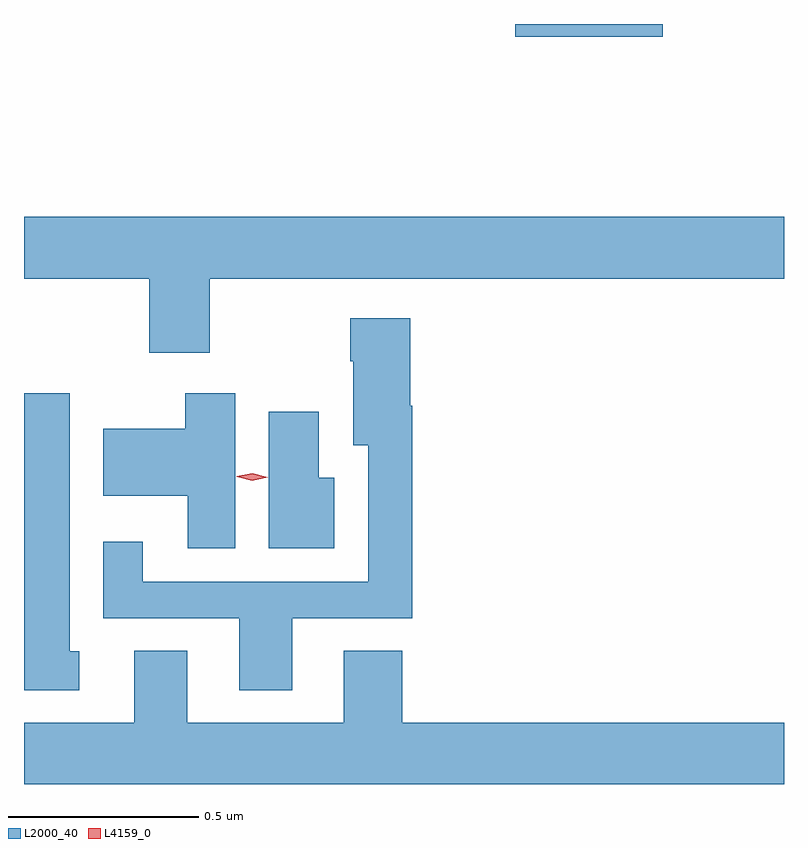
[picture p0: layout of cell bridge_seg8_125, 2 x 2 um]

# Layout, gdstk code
import gdstk
lib = gdstk.Library(unit=1e-6, precision=1e-09)
def R(c, l, rs):  # rectangles x0, y0, x1, y1
    for r in rs: c.add(gdstk.rectangle(r[:2], r[2:], *l))
def P(c, l, *ps):  # polygons
    for p in ps: c.add(gdstk.Polygon(p, *l))
L2000_40 = (2000, 40)
L4159_0 = (4159, 0)

bridge_seg8_125 = lib.new_cell('bridge_seg8_125')
R(bridge_seg8_125, L2000_40, [(859.53,1151.77,859.918,1151.803)])
P(bridge_seg8_125, L2000_40, [(858.726,1151.132),(860.237,1151.132),(860.237,1151.296),(858.237,1151.296),(858.237,1151.132),(858.566,1151.132),(858.566,1150.938),(858.726,1150.938)],
  [(858.943,1150.239),(859.259,1150.239),(859.259,1150.798),(859.253,1150.798),(859.253,1151.029),(859.096,1151.029),(859.096,1150.916),(859.103,1150.916),(859.103,1150.694),(859.143,1150.694),(859.143,1150.335),(858.55,1150.335),(858.55,1150.441),(858.446,1150.441),(858.446,1150.239),(858.803,1150.239),(858.803,1150.05),(858.943,1150.05)],
  [(858.382,1150.152),(858.358,1150.152),(858.358,1150.831),(858.237,1150.831),(858.237,1150.05),(858.382,1150.05)],
  [(858.793,1150.831),(858.661,1150.831),(858.661,1150.738),(858.446,1150.738),(858.446,1150.562),(858.668,1150.562),(858.668,1150.424),(858.793,1150.424)],
  [(859.054,1150.609),(859.012,1150.609),(859.012,1150.783),(858.881,1150.783),(858.881,1150.424),(859.054,1150.424)],
  [(860.237,1149.964),(859.232,1149.964),(859.232,1150.154),(859.079,1150.154),(859.079,1149.964),(858.667,1149.964),(858.667,1150.154),(858.527,1150.154),(858.527,1149.964),(858.237,1149.964),(858.237,1149.803),(860.237,1149.803)])
P(bridge_seg8_125, L4159_0, [(858.838,1150.601),(858.797,1150.612),(858.797,1150.612),(858.797,1150.613),(858.838,1150.621),(858.879,1150.61),(858.879,1150.61),(858.879,1150.61)])

lib.write_gds('bridge_seg8_125.gds')
